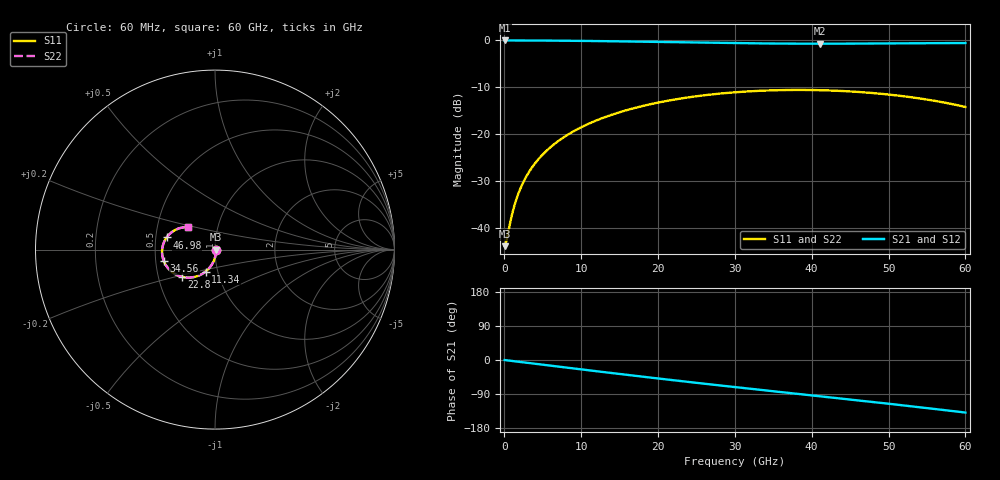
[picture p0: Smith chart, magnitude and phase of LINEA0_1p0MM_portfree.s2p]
! CST run with both port regions removed (series 2.809 pH, shunt 1.280 fF each)
# GHz S MA R 50
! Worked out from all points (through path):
!   1000 points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, 60 MHz to 60 GHz, reference 50 ohm
!   highest |S21| = -0.07 dB at 60 MHz (marker M1); lowest = -0.8 dB at 41.04 GHz (marker M2)
!   group delay of S21, straight-line fit = 6.33 ps
!   lowest |S11| = -43.8 dB at 60 MHz (marker M3), VSWR 1.01, Z = 50.6 - j0.0753 ohm
!   |S11| at or under -10 dB: start of sweep to end of sweep
!   |S22| runs from -43.8 to -10.6 dB; largest |S21 - S12| = 1.7e-06
!   S11 on the Smith chart (normalised r, x): 60 MHz: 1.01, -0.00; 11.34 GHz: 0.88, -0.22; 22.8 GHz: 0.66, -0.21; 34.56 GHz: 0.55, -0.08; 46.98 GHz: 0.57, +0.08; 60 GHz: 0.72, +0.19
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0.06  0.006443 -6.6  0.9921 -0.1  0.9921 -0.1  0.006443 -6.6
0.36  0.007751 -35.1  0.9921 -0.9  0.9921 -0.9  0.007751 -35.1
1.08  0.01458 -66.4  0.992 -2.7  0.992 -2.7  0.01458 -66.4
1.68  0.02136 -76.4  0.9919 -4.2  0.9919 -4.2  0.02136 -76.4
2.46  0.03049 -83.5  0.9915 -6.1  0.9915 -6.1  0.03049 -83.5
3.42  0.04187 -89.0  0.9909 -8.5  0.9909 -8.5  0.04187 -89.0
4.68  0.05682 -94.2  0.9899 -11.6  0.9899 -11.6  0.05682 -94.2
6.18  0.07449 -99.2  0.9882 -15.3  0.9882 -15.3  0.07449 -99.2
7.98  0.09536 -104.3  0.9856 -19.8  0.9856 -19.8  0.09536 -104.3
10.08  0.1191 -109.9  0.9819 -24.9  0.9819 -24.9  0.1191 -109.9
11.34  0.1329 -113.1  0.9793 -28.0  0.9793 -28.0  0.1329 -113.1
15.36  0.1745 -122.9  0.9696 -37.7  0.9696 -37.7  0.1745 -122.9
20.04  0.2168 -134.0  0.9565 -48.8  0.9565 -48.8  0.2168 -134.0
22.8  0.2382 -140.4  0.9484 -55.2  0.9484 -55.2  0.2382 -140.4
30.06  0.279 -157.0  0.9292 -71.6  0.9292 -71.6  0.279 -157.0
34.56  0.2921 -167.1  0.921 -81.5  0.921 -81.5  0.2921 -167.1
40.02  0.2948 -179.2  0.9165 -93.3  0.9165 -93.3  0.2948 -179.2
41.04  0.2937 178.6  0.9164 -95.5  0.9164 -95.5  0.2937 178.6
46.98  0.2778 165.9  0.9196 -108.6  0.9196 -108.6  0.2778 165.9
50.04  0.2638 159.6  0.923 -115.5  0.923 -115.5  0.2638 159.6
54.84  0.2345 149.9  0.9284 -126.5  0.9284 -126.5  0.2345 149.9
60  0.1948 140.2  0.9309 -138.7  0.9309 -138.7  0.1948 140.2
